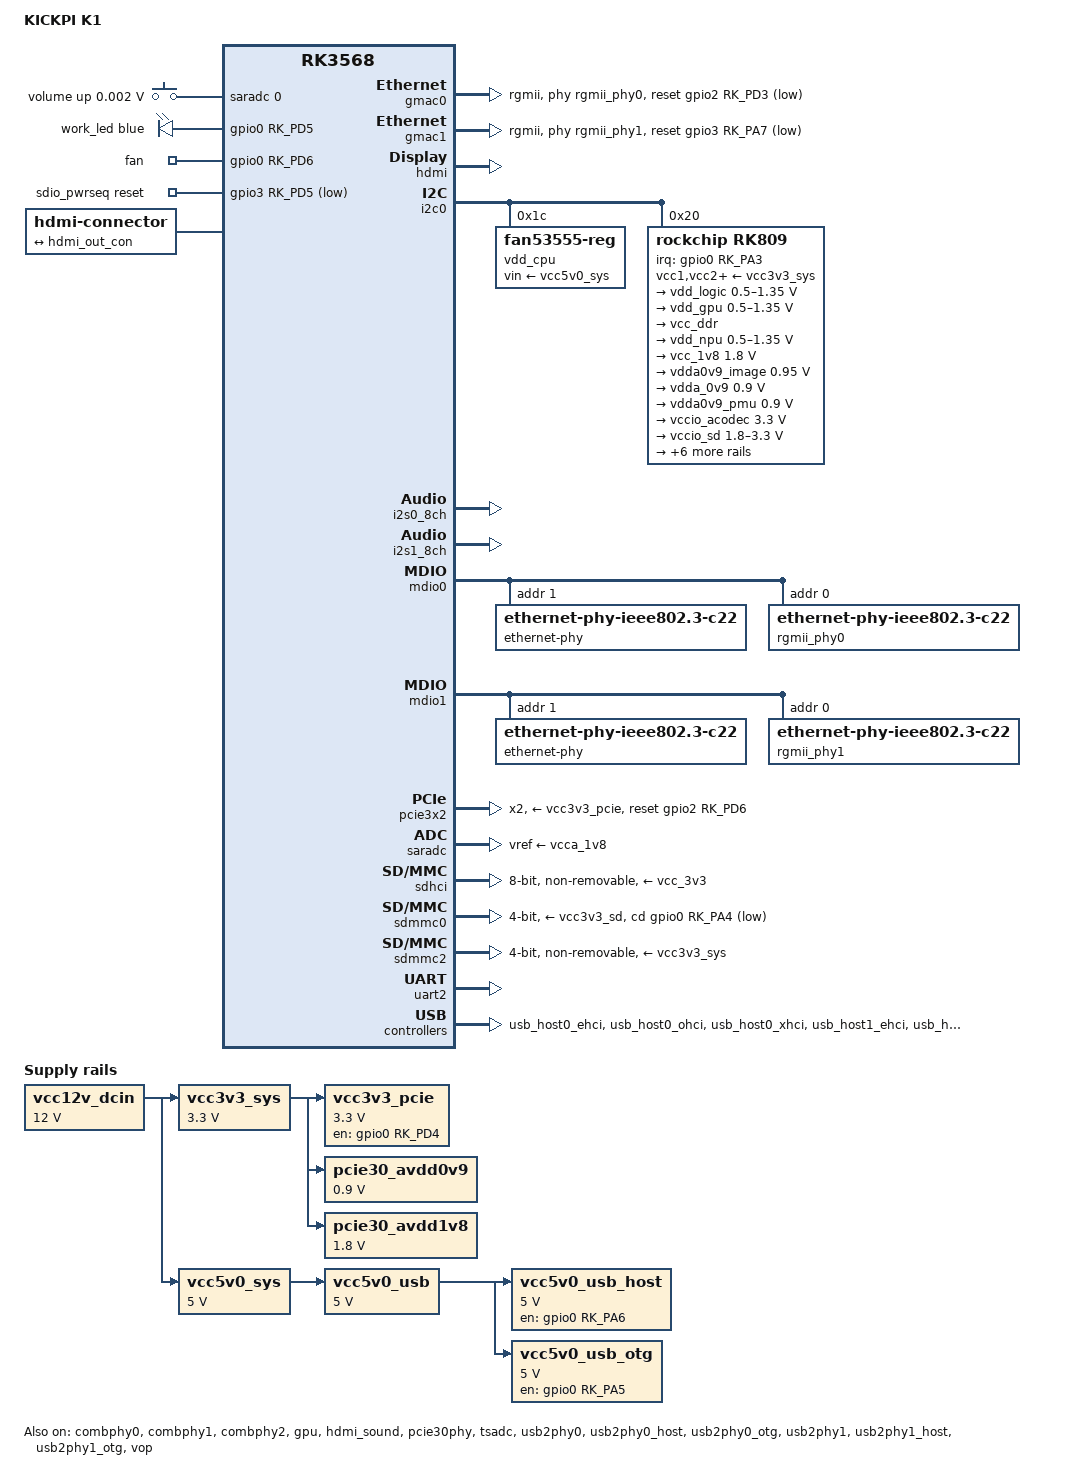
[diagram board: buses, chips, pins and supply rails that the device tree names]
// SPDX-License-Identifier: GPL-2.0-or-later OR MIT
// KICKPI K1 (V1.2, RK3568B2) —— iStoreOS 25.12 板级设备树
//
// 骨架 = 官方 rk3568-t68m.dts（同为 RK3568 + RK809，官方原生结构，实机成功线）；
// 板级数值 = lyw-kf（飞牛线，本板实机验证）与厂商原厂 DTS 取证，逐段标注来源。
// 与 T68M 的板级差异：gmac rgmii+MAC 侧延迟、LED/风扇 GPIO、vdd_cpu= fan53555、
// 按键阈值、WiFi pwrseq 1000ms、仅 pcie3x2 NVMe（无 pcie2x1/3x1/minipcie/pi6c）。

/dts-v1/;
#include <dt-bindings/gpio/gpio.h>
#include <dt-bindings/input/input.h>
#include <dt-bindings/leds/common.h>
#include <dt-bindings/pinctrl/rockchip.h>
#include <dt-bindings/soc/rockchip,vop2.h>
#include <rockchip/rk3568.dtsi>

#include "rk3568-ip.dtsi"
#include "rk3568-ip-rk809.dtsi"

#include "rk3568-ramoops.dtsi"

/ {
	model = "KICKPI K1";
	compatible = "kickpi,k1", "rockchip,rk3568";

	aliases {
		ethernet0 = &gmac0;
		ethernet1 = &gmac1;
		mmc0 = &sdhci;
		mmc1 = &sdmmc0;

		led-boot = &work_led;
		led-failsafe = &work_led;
		led-running = &work_led;
		led-upgrade = &work_led;
	};

	/* 串口控制台 ttyS2 @1500000（本板 console，kk 线实测） */
	chosen {
		stdout-path = "serial2:1500000n8";
	};

	/* 厂商原厂 DTS：按键走 SARADC，keyup 1800000、vol-up 1750 */
	adc-keys {
		compatible = "adc-keys";
		io-channels = <&saradc 0>;
		io-channel-names = "buttons";
		keyup-threshold-microvolt = <1800000>;
		poll-interval = <100>;

		vol-up-key {
			label = "volume up";
			linux,code = <KEY_VOLUMEUP>;
			press-threshold-microvolt = <1750>;
		};
	};

	/* 工作灯 = gpio0 PD5 蓝色 heartbeat；风扇 = gpio0 PD6 GPIO 直驱恒转
	   （lyw-kf 实机 DTS 原值；T68M 是 gpio4 PC6/PC5 双灯，属板级差异） */
	gpio-leds {
		compatible = "gpio-leds";
		pinctrl-names = "default";
		pinctrl-0 = <&work_led_pin>, <&fan_pin>;

		work_led: led-work {
			color = <LED_COLOR_ID_BLUE>;
			function = LED_FUNCTION_STATUS;
			gpios = <&gpio0 RK_PD5 GPIO_ACTIVE_HIGH>;
			linux,default-trigger = "heartbeat";
			default-state = "on";
		};

		fan: led-fan {
			gpios = <&gpio0 RK_PD6 GPIO_ACTIVE_HIGH>;
			default-state = "on";
		};
	};

	/* SDIO WiFi (SWT6621S) pwrseq：gpio3 PD5 低有效，上电延时 1000ms
	   （R1-R5 实机定论；T68M patch 同脚位但延时 100ms） */
	sdio_pwrseq: sdio-pwrseq {
		compatible = "mmc-pwrseq-simple";
		clocks = <&rk809 1>;
		clock-names = "ext_clock";
		pinctrl-names = "default";
		pinctrl-0 = <&wifi_enable_h>;
		post-power-on-delay-ms = <1000>;
		reset-gpios = <&gpio3 RK_PD5 GPIO_ACTIVE_LOW>;
	};

	hdmi-con {
		compatible = "hdmi-connector";
		type = "a";

		port {
			hdmi_con_in: endpoint {
				remote-endpoint = <&hdmi_out_con>;
			};
		};
	};

	vcc12v_dcin: vcc12v-dcin-regulator {
		compatible = "regulator-fixed";
		regulator-name = "vcc12v_dcin";
		regulator-always-on;
		regulator-boot-on;
		regulator-min-microvolt = <12000000>;
		regulator-max-microvolt = <12000000>;
	};

	vcc3v3_sys: vcc3v3-sys-regulator {
		compatible = "regulator-fixed";
		regulator-name = "vcc3v3_sys";
		regulator-always-on;
		regulator-boot-on;
		regulator-min-microvolt = <3300000>;
		regulator-max-microvolt = <3300000>;
		vin-supply = <&vcc12v_dcin>;
	};

	vcc5v0_sys: vcc5v0-sys-regulator {
		compatible = "regulator-fixed";
		regulator-name = "vcc5v0_sys";
		regulator-always-on;
		regulator-boot-on;
		regulator-min-microvolt = <5000000>;
		regulator-max-microvolt = <5000000>;
		vin-supply = <&vcc12v_dcin>;
	};

	vcc5v0_usb: vcc5v0-usb-regulator {
		compatible = "regulator-fixed";
		regulator-name = "vcc5v0_usb";
		regulator-always-on;
		regulator-boot-on;
		regulator-min-microvolt = <5000000>;
		regulator-max-microvolt = <5000000>;
		vin-supply = <&vcc5v0_sys>;
	};

	/* USB 供电脚（lyw-kf 实机 DTS 原值）：host=GPIO0 PA6、otg=GPIO0 PA5，高有效 */
	vcc5v0_usb_host: vcc5v0-usb-host-regulator {
		compatible = "regulator-fixed";
		enable-active-high;
		gpio = <&gpio0 RK_PA6 GPIO_ACTIVE_HIGH>;
		pinctrl-names = "default";
		pinctrl-0 = <&vcc5v0_usb_host_en>;
		regulator-name = "vcc5v0_usb_host";
		regulator-min-microvolt = <5000000>;
		regulator-max-microvolt = <5000000>;
		vin-supply = <&vcc5v0_usb>;
	};

	vcc5v0_usb_otg: vcc5v0-usb-otg-regulator {
		compatible = "regulator-fixed";
		enable-active-high;
		gpio = <&gpio0 RK_PA5 GPIO_ACTIVE_HIGH>;
		pinctrl-names = "default";
		pinctrl-0 = <&vcc5v0_usb_otg_en>;
		regulator-name = "vcc5v0_usb_otg";
		regulator-min-microvolt = <5000000>;
		regulator-max-microvolt = <5000000>;
		vin-supply = <&vcc5v0_usb>;
	};

	/* M.2 NVMe 3V3 —— 槽电源受 gpio0 RK_PD4(=pin28) 控制（与 lyw-kk 实机定案一致：
	   此前写成"无 GPIO 常开"时，pcie30 PHY 初始化时槽上无电 → PHY SRAM init 等不到 →
	   "rockchip_p3phy_rk3568_init: lock failed" → dw-pcie -ETIMEDOUT → 冷启动 NVMe 不上盘） */
	vcc3v3_pcie: vcc3v3-pcie-regulator {
		compatible = "regulator-fixed";
		regulator-name = "vcc3v3_pcie";
		regulator-always-on;
		regulator-boot-on;
		gpio = <&gpio0 RK_PD4 GPIO_ACTIVE_HIGH>;
		enable-active-high;
		pinctrl-names = "default";
		pinctrl-0 = <&pcie3_power_en>;
		regulator-min-microvolt = <3300000>;
		regulator-max-microvolt = <3300000>;
		vin-supply = <&vcc3v3_sys>;
	};

	/* pcie30 PHY 的模拟供电（0.9V/1.8V）：与 lyw-kk 同款常开，
	   实机日志取证 PHY 初始化(t≈13.9s)早于其供电就绪(t≈15.1s)。
	   【绝不要给 &pcie30phy 挂 phy-supply】—— 实测会永久 deferred probe。 */
	pcie30_avdd0v9: pcie30-avdd0v9 {
		compatible = "regulator-fixed";
		regulator-name = "pcie30_avdd0v9";
		regulator-always-on;
		regulator-boot-on;
		regulator-min-microvolt = <900000>;
		regulator-max-microvolt = <900000>;
		vin-supply = <&vcc3v3_sys>;
	};

	pcie30_avdd1v8: pcie30-avdd1v8 {
		compatible = "regulator-fixed";
		regulator-name = "pcie30_avdd1v8";
		regulator-always-on;
		regulator-boot-on;
		regulator-min-microvolt = <1800000>;
		regulator-max-microvolt = <1800000>;
		vin-supply = <&vcc3v3_sys>;
	};
};

&combphy0 {
	status = "okay";
};

&combphy1 {
	status = "okay";
};

&combphy2 {
	/* SATA（实机 ata1 在线；combphy2 供 SATA2） */
	status = "okay";
};

&cpu0 {
	cpu-supply = <&vdd_cpu>;
};

&cpu1 {
	cpu-supply = <&vdd_cpu>;
};

&cpu2 {
	cpu-supply = <&vdd_cpu>;
};

&cpu3 {
	cpu-supply = <&vdd_cpu>;
};

/* 双千兆：phy-mode="rgmii" + MAC 侧 tx/rx_delay 全部为本板实机值。
   ⚠ 与 T68M 的板级差异：T68M 是 rgmii-id 且无 tx/rx_delay 属性（延迟全在 PHY 侧）。 */
&gmac0 {
	assigned-clocks = <&cru SCLK_GMAC0_RX_TX>, <&cru SCLK_GMAC0>;
	assigned-clock-parents = <&cru SCLK_GMAC0_RGMII_SPEED>;
	assigned-clock-rates = <0>, <125000000>;
	clock_in_out = "output";
	phy-mode = "rgmii";
	pinctrl-names = "default";
	pinctrl-0 = <&gmac0_miim
		     &gmac0_tx_bus2
		     &gmac0_rx_bus2
		     &gmac0_rgmii_clk
		     &gmac0_rgmii_bus>;
	/* 厂商实机：reset = gpio3 PB3 active-low，MAC 侧单持有 */
	/* 第二 PHY 复位：GPIO2_D3（/pinctrl/gpio@fe750000 = gpio2，pin 0x1b = 27）active-low，MAC 侧单持有。
	   ⚠ 2026-10-14 实机定案：此处原写 <&gpio3 RK_PB3>（= gpio3 pin 11）指到了另一个控制器与引脚
	   → 第二 PHY 一直被按在复位里 → 其 MDIO 地址 0/1/2 全无应答 → "Cannot attach to PHY (error: -19)"，
	   整口不可用（第一口复位同为 gpio3 pin 7，故不受影响）。铁证：同板双口可用的飞牛线 DTB 里
	   ethernet@fe2a0000 正是 gpio@fe750000(gpio2) pin 27。 */
	snps,reset-gpio = <&gpio2 RK_PD3 GPIO_ACTIVE_LOW>;
	snps,reset-active-low;
	snps,reset-delays-us = <0 20000 100000>;
	tx_delay = <0x21>;
	rx_delay = <0x3c>;
	phy-handle = <&rgmii_phy0>;
	status = "okay";
};

&gmac1 {
	assigned-clocks = <&cru SCLK_GMAC1_RX_TX>, <&cru SCLK_GMAC1>;
	assigned-clock-parents = <&cru SCLK_GMAC1_RGMII_SPEED>;
	assigned-clock-rates = <0>, <125000000>;
	clock_in_out = "output";
	phy-mode = "rgmii";
	pinctrl-names = "default";
	pinctrl-0 = <&gmac1m1_miim
		     &gmac1m1_tx_bus2
		     &gmac1m1_rx_bus2
		     &gmac1m1_rgmii_clk
		     &gmac1m1_rgmii_bus>;
	/* 厂商实机：reset = gpio3 PA7 active-low */
	snps,reset-gpio = <&gpio3 RK_PA7 GPIO_ACTIVE_LOW>;
	snps,reset-active-low;
	snps,reset-delays-us = <0 20000 100000>;
	tx_delay = <0x2f>;
	rx_delay = <0x39>;
	phy-handle = <&rgmii_phy1>;
	status = "okay";
};

&gpu {
	mali-supply = <&vdd_gpu>;
	status = "okay";
};

&hdmi {
	avdd-0v9-supply = <&vdda0v9_image>;
	avdd-1v8-supply = <&vcca1v8_image>;
	status = "okay";
};

&hdmi_in {
	hdmi_in_vp0: endpoint {
		remote-endpoint = <&vp0_out_hdmi>;
	};
};

&hdmi_out {
	hdmi_out_con: endpoint {
		remote-endpoint = <&hdmi_con_in>;
	};
};

&hdmi_sound {
	status = "okay";
};

&i2c0 {
	status = "okay";

	/* vdd_cpu：厂商原厂 DTS = fan53555（@0x1c，712000–1390000，init 900000、
	   ramp 2300）。T68M 同位置是 tcs4525 —— 板级差异。 */
	vdd_cpu: regulator@1c {
		compatible = "fan53555-reg";
		reg = <0x1c>;
		fcs,suspend-voltage-selector = <1>;
		regulator-name = "vdd_cpu";
		regulator-always-on;
		regulator-boot-on;
		regulator-min-microvolt = <712000>;
		regulator-max-microvolt = <1390000>;
		regulator-init-microvolt = <900000>;
		regulator-ramp-delay = <2300>;
		vin-supply = <&vcc5v0_sys>;

		regulator-state-mem {
			regulator-off-in-suspend;
		};
	};

	rk809: pmic@20 {
		compatible = "rockchip,rk809";
		reg = <0x20>;
		interrupt-parent = <&gpio0>;
		interrupts = <RK_PA3 IRQ_TYPE_LEVEL_LOW>;
		assigned-clocks = <&cru I2S1_MCLKOUT_TX>;
		assigned-clock-parents = <&cru CLK_I2S1_8CH_TX>;
		#clock-cells = <1>;
		clock-names = "mclk";
		clocks = <&cru I2S1_MCLKOUT_TX>;
		pinctrl-names = "default";
		pinctrl-0 = <&pmic_int>, <&i2s1m0_mclk>;
		system-power-controller;
		#sound-dai-cells = <0>;
		wakeup-source;

		vcc1-supply = <&vcc3v3_sys>;
		vcc2-supply = <&vcc3v3_sys>;
		vcc3-supply = <&vcc3v3_sys>;
		vcc4-supply = <&vcc3v3_sys>;
		vcc5-supply = <&vcc3v3_sys>;
		vcc6-supply = <&vcc3v3_sys>;
		vcc7-supply = <&vcc3v3_sys>;
		vcc8-supply = <&vcc3v3_sys>;
		vcc9-supply = <&vcc3v3_sys>;

		regulators {
			vdd_logic: DCDC_REG1 {
				regulator-name = "vdd_logic";
				regulator-always-on;
				regulator-boot-on;
				regulator-initial-mode = <0x2>;
				regulator-min-microvolt = <500000>;
				regulator-max-microvolt = <1350000>;
				regulator-ramp-delay = <6001>;

				regulator-state-mem {
					regulator-off-in-suspend;
				};
			};

			vdd_gpu: DCDC_REG2 {
				regulator-name = "vdd_gpu";
				regulator-always-on;
				regulator-initial-mode = <0x2>;
				regulator-min-microvolt = <500000>;
				regulator-max-microvolt = <1350000>;
				regulator-ramp-delay = <6001>;

				regulator-state-mem {
					regulator-off-in-suspend;
				};
			};

			vcc_ddr: DCDC_REG3 {
				regulator-name = "vcc_ddr";
				regulator-always-on;
				regulator-boot-on;
				regulator-initial-mode = <0x2>;

				regulator-state-mem {
					regulator-on-in-suspend;
				};
			};

			vdd_npu: DCDC_REG4 {
				regulator-name = "vdd_npu";
				regulator-initial-mode = <0x2>;
				regulator-min-microvolt = <500000>;
				regulator-max-microvolt = <1350000>;
				regulator-ramp-delay = <6001>;

				regulator-state-mem {
					regulator-off-in-suspend;
				};
			};

			vcc_1v8: DCDC_REG5 {
				regulator-name = "vcc_1v8";
				regulator-always-on;
				regulator-boot-on;
				regulator-min-microvolt = <1800000>;
				regulator-max-microvolt = <1800000>;

				regulator-state-mem {
					regulator-off-in-suspend;
				};
			};

			vdda0v9_image: LDO_REG1 {
				regulator-name = "vdda0v9_image";
				regulator-min-microvolt = <950000>;
				regulator-max-microvolt = <950000>;

				regulator-state-mem {
					regulator-off-in-suspend;
				};
			};

			vdda_0v9: LDO_REG2 {
				regulator-name = "vdda_0v9";
				regulator-always-on;
				regulator-boot-on;
				regulator-min-microvolt = <900000>;
				regulator-max-microvolt = <900000>;

				regulator-state-mem {
					regulator-off-in-suspend;
				};
			};

			vdda0v9_pmu: LDO_REG3 {
				regulator-name = "vdda0v9_pmu";
				regulator-always-on;
				regulator-boot-on;
				regulator-min-microvolt = <900000>;
				regulator-max-microvolt = <900000>;

				regulator-state-mem {
					regulator-on-in-suspend;
					regulator-suspend-microvolt = <900000>;
				};
			};

			vccio_acodec: LDO_REG4 {
				regulator-name = "vccio_acodec";
				regulator-always-on;
				regulator-min-microvolt = <3300000>;
				regulator-max-microvolt = <3300000>;

				regulator-state-mem {
					regulator-off-in-suspend;
				};
			};

			vccio_sd: LDO_REG5 {
				regulator-name = "vccio_sd";
				regulator-min-microvolt = <1800000>;
				regulator-max-microvolt = <3300000>;

				regulator-state-mem {
					regulator-off-in-suspend;
				};
			};

			vcc3v3_pmu: LDO_REG6 {
				regulator-name = "vcc3v3_pmu";
				regulator-always-on;
				regulator-boot-on;
				regulator-min-microvolt = <3300000>;
				regulator-max-microvolt = <3300000>;

				regulator-state-mem {
					regulator-on-in-suspend;
					regulator-suspend-microvolt = <3300000>;
				};
			};

			vcca_1v8: LDO_REG7 {
				regulator-name = "vcca_1v8";
				regulator-always-on;
				regulator-boot-on;
				regulator-min-microvolt = <1800000>;
				regulator-max-microvolt = <1800000>;

				regulator-state-mem {
					regulator-off-in-suspend;
				};
			};

			vcca1v8_pmu: LDO_REG8 {
				regulator-name = "vcca1v8_pmu";
				regulator-always-on;
				regulator-boot-on;
				regulator-min-microvolt = <1800000>;
				regulator-max-microvolt = <1800000>;

				regulator-state-mem {
					regulator-on-in-suspend;
					regulator-suspend-microvolt = <1800000>;
				};
			};

			vcca1v8_image: LDO_REG9 {
				regulator-name = "vcca1v8_image";
				regulator-always-on;
				regulator-boot-on;
				regulator-min-microvolt = <1800000>;
				regulator-max-microvolt = <1800000>;

				regulator-state-mem {
					regulator-off-in-suspend;
				};
			};

			vcc_3v3: SWITCH_REG1 {
				regulator-name = "vcc_3v3";
				regulator-always-on;
				regulator-boot-on;

				regulator-state-mem {
					regulator-off-in-suspend;
				};
			};

			vcc3v3_sd: SWITCH_REG2 {
				regulator-name = "vcc3v3_sd";

				regulator-state-mem {
					regulator-off-in-suspend;
				};
			};
		};
	};
};

&i2s0_8ch {
	status = "okay";
};

&i2s1_8ch {
	rockchip,trcm-sync-tx-only;
	status = "okay";
};

/* PHY = Maxio MAE0621A，DT 里为通用 C22 节点（实机即如此，Maxio 驱动按 PHY ID 运行时匹配）。
   ⚠ 本板必需：mdio 扫描在 phy@0 之前先走一帧占位，phy@0 才能读到正确 ID（T68M/RTL8211F 无此问题）。
   不带 realtek,led-data（那是 T68M 的 RTL8211F 专属属性）。 */
/* EEE 1G 关闭（2026-10-17 实机定案，内核官方机制）：
   RK3568 dwmac + Maxio MAE0621A 与对端 RTL8211F 协商到 EEE 后，RX 侧在 LPI 里疯狂进出
   （实测 irq_rx_path_in_lpi_mode_n 1400 万次、phy_eee_wakeup_error_n 数百），症状是
   "灯亮、能发不能收"：本机 ARP/DHCP 一直往外发，却收不到对端任何回应 → 拿不到 IP / 整口不通；
   对端关掉 EEE 并重协商后立刻恢复 0% 丢包。
   eee-broken-1000t 由 of_set_phy_eee_broken() 解析，每次 aneg 都会把 1000T 从 EEE 通告位清掉，
   只关 1G 的 EEE（100M EEE 保持默认），不需要任何用户态脚本。 */
&mdio0 {
	ethernet-phy@1 {
		compatible = "ethernet-phy-ieee802.3-c22";
		reg = <1>;
	};

	rgmii_phy0: ethernet-phy@0 {
		compatible = "ethernet-phy-ieee802.3-c22";
		reg = <0>;
		eee-broken-1000t;
	};
};

&mdio1 {
	ethernet-phy@1 {
		compatible = "ethernet-phy-ieee802.3-c22";
		reg = <1>;
	};

	rgmii_phy1: ethernet-phy@0 {
		compatible = "ethernet-phy-ieee802.3-c22";
		reg = <0>;
		eee-broken-1000t;
	};
};

&pcie30phy {
	/* 不写 data-lanes（与 lyw-kk 金标准对照定论一致）：
	   R1 官方 DTB、飞牛线（同板实机 NVMe 正常）的 phy@fe8c0000 均无此属性；
	   仅 T68M（1+1 bifurcation 分叉板）才写 <1 2>。K1 是聚合 x2 NVMe，
	   照抄后实测 rockchip_p3phy_rk3568_init: lock failed 0x6890000
	   （check input refclk and power supply）→ phy init -110 → dw-pcie -22。 */
	status = "okay";
};

&pcie3x2 {
	/* M.2 NVMe：x2 lanes（厂商实机 bus-range 0x20-0x2f）。
	   单口 NVMe 不需要 bifurcation（T68M 双 RTL8125 才要）。 */
	num-lanes = <2>;
	reset-gpios = <&gpio2 RK_PD6 GPIO_ACTIVE_HIGH>;
	vpcie3v3-supply = <&vcc3v3_pcie>;
	status = "okay";
};

&pinctrl {
	leds {
		work_led_pin: work-led-pin {
			rockchip,pins = <0 RK_PD5 RK_FUNC_GPIO &pcfg_pull_none>;
		};

		fan_pin: fan-pin {
			rockchip,pins = <0 RK_PD6 RK_FUNC_GPIO &pcfg_pull_none>;
		};
	};

	pmic {
		pmic_int: pmic_int {
			rockchip,pins = <0 RK_PA3 RK_FUNC_GPIO &pcfg_pull_up>;
		};
	};

	pcie3 {
		/* NVMe 槽电源使能脚（与厂商 K1 原厂 dtsi / lyw-kk 实机一致） */
		pcie3_power_en: pcie3-power-en {
			rockchip,pins = <0 RK_PD4 RK_FUNC_GPIO &pcfg_pull_none>;
		};
	};

	sdio-pwrseq {
		wifi_enable_h: wifi-enable-h {
			rockchip,pins = <3 RK_PD5 RK_FUNC_GPIO &pcfg_pull_up>;
		};
	};

	usb {
		vcc5v0_usb_host_en: vcc5v0_usb_host_en {
			rockchip,pins = <0 RK_PA6 RK_FUNC_GPIO &pcfg_pull_none>;
		};

		vcc5v0_usb_otg_en: vcc5v0_usb_otg_en {
			rockchip,pins = <0 RK_PA5 RK_FUNC_GPIO &pcfg_pull_none>;
		};
	};
};

&pmu_io_domains {
	pmuio1-supply = <&vcc3v3_pmu>;
	pmuio2-supply = <&vcc3v3_pmu>;
	vccio1-supply = <&vccio_acodec>;
	vccio2-supply = <&vcc_1v8>;
	vccio3-supply = <&vccio_sd>;
	vccio4-supply = <&vcc_1v8>;
	vccio5-supply = <&vcc_3v3>;
	vccio6-supply = <&vcc_1v8>;
	vccio7-supply = <&vcc_3v3>;
	status = "okay";
};

&saradc {
	vref-supply = <&vcca_1v8>;
	status = "okay";
};

&sdhci {
	bus-width = <8>;
	max-frequency = <200000000>;
	non-removable;
	pinctrl-names = "default";
	pinctrl-0 = <&emmc_bus8 &emmc_clk &emmc_cmd &emmc_datastrobe>;
	vmmc-supply = <&vcc_3v3>;
	vqmmc-supply = <&vcc_1v8>;
	status = "okay";
};

&sdmmc0 {
	bus-width = <4>;
	cap-sd-highspeed;
	cd-gpios = <&gpio0 RK_PA4 GPIO_ACTIVE_LOW>;
	disable-wp;
	pinctrl-names = "default";
	pinctrl-0 = <&sdmmc0_bus4 &sdmmc0_clk &sdmmc0_cmd &sdmmc0_det>;
	sd-uhs-sdr50;
	vmmc-supply = <&vcc3v3_sd>;
	vqmmc-supply = <&vccio_sd>;
	status = "okay";
};

/* SDIO WiFi (SWT6621S)：实机 SDR104 + pwrseq（见 sdio_pwrseq 注释） */
&sdmmc2 {
	bus-width = <4>;
	cap-sd-highspeed;
	cap-sdio-irq;
	disable-wp;
	keep-power-in-suspend;
	mmc-pwrseq = <&sdio_pwrseq>;
	non-removable;
	pinctrl-names = "default";
	pinctrl-0 = <&sdmmc2m0_bus4 &sdmmc2m0_clk &sdmmc2m0_cmd>;
	sd-uhs-sdr104;
	supports-sdio;
	vmmc-supply = <&vcc3v3_sys>;
	vqmmc-supply = <&vcc_1v8>;
	status = "okay";
};

&tsadc {
	rockchip,hw-tshut-mode = <1>;
	rockchip,hw-tshut-polarity = <0>;
	status = "okay";
};

&uart2 {
	status = "okay";
};

&usb_host0_ehci {
	status = "okay";
};

&usb_host0_ohci {
	status = "okay";
};

&usb_host0_xhci {
	extcon = <&usb2phy0>;
	status = "okay";
};

&usb_host1_ehci {
	status = "okay";
};

&usb_host1_ohci {
	status = "okay";
};

&usb_host1_xhci {
	status = "okay";
};

&usb2phy0 {
	status = "okay";
};

&usb2phy0_host {
	phy-supply = <&vcc5v0_usb_host>;
	status = "okay";
};

&usb2phy0_otg {
	phy-supply = <&vcc5v0_usb_otg>;
	status = "okay";
};

&usb2phy1 {
	status = "okay";
};

&usb2phy1_host {
	phy-supply = <&vcc5v0_usb_host>;
	status = "okay";
};

&usb2phy1_otg {
	phy-supply = <&vcc5v0_usb_host>;
	status = "okay";
};

&vop {
	assigned-clocks = <&cru DCLK_VOP0>, <&cru DCLK_VOP1>;
	assigned-clock-parents = <&pmucru PLL_HPLL>, <&cru PLL_VPLL>;
	status = "okay";
};

&vop_mmu {
	status = "okay";
};

&vp0 {
	vp0_out_hdmi: endpoint@ROCKCHIP_VOP2_EP_HDMI0 {
		reg = <ROCKCHIP_VOP2_EP_HDMI0>;
		remote-endpoint = <&hdmi_in_vp0>;
	};
};
